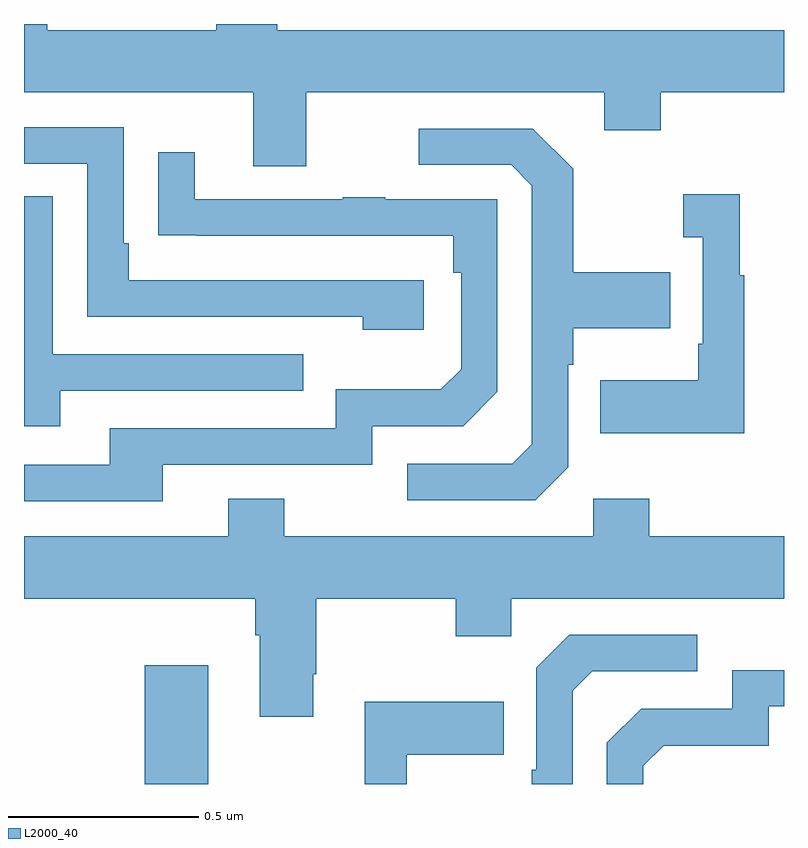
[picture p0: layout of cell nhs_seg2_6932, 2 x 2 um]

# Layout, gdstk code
import gdstk
lib = gdstk.Library(unit=1e-6, precision=1e-09)
def R(c, l, rs):  # rectangles x0, y0, x1, y1
    for r in rs: c.add(gdstk.rectangle(r[:2], r[2:], *l))
def P(c, l, *ps):  # polygons
    for p in ps: c.add(gdstk.Polygon(p, *l))
L2000_40 = (2000, 40)

nhs_seg2_6932 = lib.new_cell('nhs_seg2_6932')
R(nhs_seg2_6932, L2000_40, [(197.318,661.8,197.485,662.113)])
P(nhs_seg2_6932, L2000_40, [(197.743,663.62),(198.527,663.62),(198.527,663.521),(198.675,663.521),(198.675,663.62),(199,663.62),(199,663.784),(197.666,663.784),(197.666,663.8),(197.506,663.8),(197.506,663.784),(197.061,663.784),(197.061,663.8),(197,663.8),(197,663.62),(197.603,663.62),(197.603,663.426),(197.743,663.426)],
  [(198.052,663.126),(197.275,663.126),(197.275,663.223),(197.262,663.223),(197.262,663.528),(197,663.528),(197,663.432),(197.166,663.432),(197.166,663.03),(197.891,663.03),(197.891,662.996),(198.052,662.996)],
  [(198.432,662.634),(198.432,662.903),(198.445,662.903),(198.445,662.999),(198.701,662.999),(198.701,663.147),(198.445,663.147),(198.445,663.419),(198.339,663.525),(198.039,663.525),(198.039,663.429),(198.282,663.429),(198.336,663.375),(198.336,662.694),(198.285,662.643),(198.009,662.643),(198.009,662.547),(198.345,662.547)],
  [(197.365,662.64),(197.916,662.64),(197.916,662.742),(198.156,662.742),(198.246,662.832),(198.246,663.339),(197.951,663.339),(197.951,663.344),(197.839,663.344),(197.839,663.339),(197.449,663.339),(197.449,663.463),(197.353,663.463),(197.353,663.244),(197.455,663.244),(197.455,663.243),(198.13,663.243),(198.13,663.146),(198.15,663.146),(198.15,662.892),(198.097,662.839),(197.82,662.839),(197.82,662.736),(197.225,662.736),(197.225,662.64),(197.001,662.64),(197.001,662.544),(197.365,662.544)],
  [(198.895,663.139),(198.883,663.139),(198.883,663.352),(198.735,663.352),(198.735,663.239),(198.786,663.239),(198.786,662.959),(198.774,662.959),(198.774,662.863),(198.517,662.863),(198.517,662.723),(198.895,662.723)],
  [(197.095,662.835),(197.735,662.835),(197.735,662.931),(197.076,662.931),(197.076,663.347),(197,663.347),(197,662.741),(197.095,662.741)],
  [(197.761,662.089),(197.769,662.089),(197.769,662.288),(198.136,662.288),(198.136,662.189),(198.282,662.189),(198.282,662.288),(199,662.288),(199,662.452),(198.645,662.452),(198.645,662.551),(198.498,662.551),(198.498,662.452),(197.685,662.452),(197.685,662.551),(197.537,662.551),(197.537,662.452),(197,662.452),(197,662.288),(197.609,662.288),(197.609,662.192),(197.621,662.192),(197.621,661.977),(197.761,661.977)],
  [(198.444,662.046),(198.495,662.097),(198.772,662.097),(198.772,662.193),(198.435,662.193),(198.348,662.106),(198.348,661.837),(198.336,661.837),(198.336,661.8),(198.444,661.8)],
  [(198.63,661.848),(198.683,661.901),(198.96,661.901),(198.96,662.004),(199,662.004),(199,662.1),(198.864,662.1),(198.864,661.998),(198.624,661.998),(198.534,661.908),(198.534,661.8),(198.63,661.8)],
  [(198.007,661.877),(198.263,661.877),(198.263,662.017),(197.897,662.017),(197.897,661.8),(198.007,661.8)])

lib.write_gds('nhs_seg2_6932.gds')
